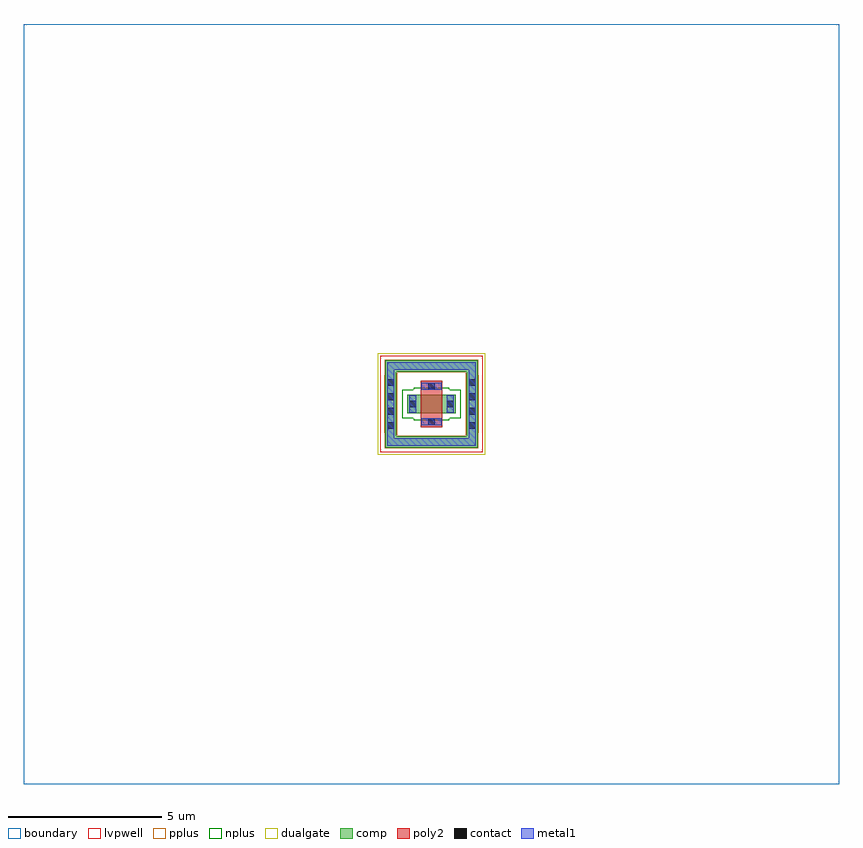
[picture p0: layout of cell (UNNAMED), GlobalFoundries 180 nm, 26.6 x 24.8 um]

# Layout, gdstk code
import gdstk
lib = gdstk.Library(unit=1e-6, precision=1e-09)
def R(c, l, rs):  # rectangles x0, y0, x1, y1
    for r in rs: c.add(gdstk.rectangle(r[:2], r[2:], *l))
def A(c, l, x, y, w, h, nx, ny, dx, dy):  # array of equal rectangles
    R(c, l, [(x+i*dx, y+j*dy, x+i*dx+w, y+j*dy+h) for i in range(nx) for j in range(ny)])
boundary = (0, 0)
comp = (22, 0)
poly2 = (30, 0)
pplus = (31, 0)
nplus = (32, 0)
contact = (33, 0)
metal1 = (34, 0)
dualgate = (55, 0)
lvpwell = (204, 0)

c__unnamed_ = lib.new_cell('(UNNAMED)')
R(c__unnamed_, boundary, [(-13.3,-12.4,13.3,12.4)])
R(c__unnamed_, comp, [(-1.51,-1.42,1.51,-1.06), (-1.51,-1.06,-1.15,1.06), (1.15,-1.06,1.51,1.06), (-0.79,-0.3,0.79,0.3), (-1.51,1.06,1.51,1.42)])
R(c__unnamed_, poly2, [(-0.35,-0.76,0.35,0.76)])
R(c__unnamed_, pplus, [(-1.53,-1.44,1.53,-1.04), (-1.53,-1.04,-1.12,-0.935), (1.12,-1.04,1.53,-0.935), (-1.54,-0.935,-1.12,0.935), (1.12,-0.935,1.54,0.935), (-1.53,0.935,-1.12,1.04), (1.12,0.935,1.53,1.04), (-1.53,1.04,1.53,1.44)])
R(c__unnamed_, nplus, [(-0.58,-0.53,0.58,-0.46), (-0.95,-0.46,0.95,0.46), (-0.58,0.46,0.58,0.53)])
A(c__unnamed_, contact, -1.44, -0.815, 0.22, 0.22, 1, 4, 0, 0.47)
A(c__unnamed_, contact, 1.22, -0.815, 0.22, 0.22, 1, 4, 0, 0.47)
R(c__unnamed_, contact, [(-0.11,-0.69,0.11,-0.47), (-0.72,-0.11,-0.5,0.11), (0.5,-0.11,0.72,0.11), (-0.11,0.47,0.11,0.69)])
R(c__unnamed_, metal1, [(-1.445,-1.355,1.445,-1.125), (-1.445,-1.125,-1.215,1.125), (1.215,-1.125,1.445,1.125), (-0.34,-0.695,0.34,-0.465), (-0.725,-0.29,-0.495,0.29), (0.495,-0.29,0.725,0.29), (-0.34,0.465,0.34,0.695), (-1.445,1.125,1.445,1.355)])
R(c__unnamed_, dualgate, [(-1.75,-1.66,1.75,1.66)])
R(c__unnamed_, lvpwell, [(-1.67,-1.58,1.67,1.58)])

lib.write_gds('_UNNAMED_.gds')
